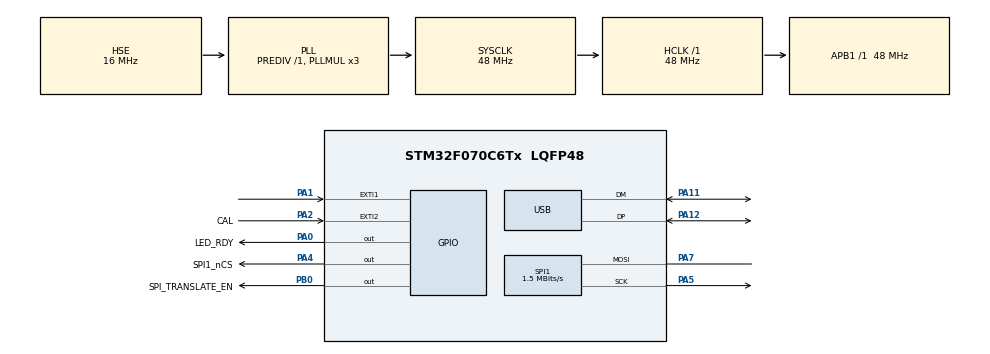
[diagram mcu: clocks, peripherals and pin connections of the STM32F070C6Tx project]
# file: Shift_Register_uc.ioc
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Mcu.Family=STM32F0
Mcu.Name=STM32F070C6Tx
Mcu.Package=LQFP48
NVIC.EXTI2_3_IRQn=true\:0\:0\:false\:false\:true\:true\:true\:true
NVIC.USB_IRQn=true\:0\:0\:false\:false\:true\:false\:true\:true
PA0.GPIO_Label=LED_RDY
PA0.Signal=GPIO_Output
PA1.GPIO_ModeDefaultEXTI=GPIO_MODE_IT_FALLING
PA1.GPIO_PuPd=GPIO_PULLUP
PA1.Signal=GPXTI1
PA11.Mode=Device
PA11.Signal=USB_DM
PA12.Mode=Device
PA12.Signal=USB_DP
PA13.Mode=Serial_Wire
PA13.Signal=SYS_SWDIO
PA14.Mode=Serial_Wire
PA14.Signal=SYS_SWCLK
PA2.GPIO_Label=CAL
PA2.GPIO_ModeDefaultEXTI=GPIO_MODE_IT_FALLING
PA2.GPIO_PuPd=GPIO_PULLUP
PA2.Signal=GPXTI2
PA4.GPIO_Label=SPI1_nCS
PA4.Signal=GPIO_Output
PA5.Mode=Simplex_Bidirectional_Master
PA5.Signal=SPI1_SCK
PA7.Mode=Simplex_Bidirectional_Master
PA7.Signal=SPI1_MOSI
PB0.GPIO_Label=SPI_TRANSLATE_EN
PB0.Signal=GPIO_Output
PF0-OSC_IN.Mode=HSE-External-Oscillator
PF0-OSC_IN.Signal=RCC_OSC_IN
PF1-OSC_OUT.Mode=HSE-External-Oscillator
PF1-OSC_OUT.Signal=RCC_OSC_OUT
ProjectManager.HeapSize=0x200
ProjectManager.StackSize=0x400
ProjectManager.TargetToolchain=STM32CubeIDE
RCC.AHBFreq_Value=48000000
RCC.APB1Freq_Value=48000000
RCC.APB1TimFreq_Value=48000000
RCC.HCLKFreq_Value=48000000
RCC.HSE_VALUE=16000000
RCC.PLLMUL=RCC_PLL_MUL3
RCC.SYSCLKFreq_VALUE=48000000
RCC.SYSCLKSource=RCC_SYSCLKSOURCE_PLLCLK
SPI1.BaudRatePrescaler=SPI_BAUDRATEPRESCALER_32
SPI1.CalculateBaudRate=1.5 MBits/s
SPI1.DataSize=SPI_DATASIZE_8BIT
SPI1.Direction=SPI_DIRECTION_1LINE
SPI1.FirstBit=SPI_FIRSTBIT_LSB
SPI1.Mode=SPI_MODE_MASTER
SPI1.VirtualType=VM_MASTER
USB_DEVICE.CLASS_NAME_FS=DFU
USB_DEVICE.USBD_DEBUG_LEVEL=2
USB_DEVICE.VirtualMode=Dfu
USB_DEVICE.VirtualModeFS=Dfu_FS
VP_USB_DEVICE_VS_USB_DEVICE_DFU_FS.Mode=DFU_FS
board=custom

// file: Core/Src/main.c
/* USER CODE BEGIN Header */
/**
  ******************************************************************************
  * @file           : main.c
  * @brief          : Main program body
  ******************************************************************************
  * @attention
  *
  * Copyright (c) 2023 STMicroelectronics.
  * All rights reserved.
  *
  * This software is licensed under terms that can be found in the LICENSE file
  * in the root directory of this software component.
  * If no LICENSE file comes with this software, it is provided AS-IS.
  *
  ******************************************************************************
  */
/* USER CODE END Header */
#include "main.h"
#include "usb_device.h"

/* USER CODE BEGIN Includes */
#include "clk_div_8V79S680.h"
/* USER CODE END Includes */

SPI_HandleTypeDef hspi1;

/* USER CODE BEGIN PV */
static int8_t CAL_SUCCESS = 1; // 0 denotes success, 1 denotes failure
/* USER CODE END PV */

void SystemClock_Config(void);
static void MX_GPIO_Init(void);
static void MX_SPI1_Init(void);

int main(void)
{

  /* MCU Configuration--------------------------------------------------------*/

  /* Reset of all peripherals, Initializes the Flash interface and the Systick. */
  HAL_Init();

  /* Configure the system clock */
  SystemClock_Config();

  /* Initialize all configured peripherals */
  MX_GPIO_Init();
  MX_SPI1_Init();
  MX_USB_DEVICE_Init();
  /* USER CODE BEGIN 2 */
  	HAL_GPIO_WritePin(SPI_TRANSLATE_EN_GPIO_Port, SPI_TRANSLATE_EN_Pin, GPIO_PIN_SET);
  	HAL_GPIO_WritePin(SPI1_nCS_GPIO_Port, SPI1_nCS_Pin, GPIO_PIN_SET);

	uint8_t reg_data;
	uint8_t reg2_data[120];
	HAL_StatusTypeDef SPI_status;

	HAL_Delay(1000);
	CLK_DIV_Init(&hspi1);

  /* USER CODE END 2 */

  /* Infinite loop */
  /* USER CODE BEGIN WHILE */
  while (1)
  {
	  while(CAL_SUCCESS != 0) {
		HAL_GPIO_WritePin(CAL_GPIO_Port, CAL_Pin, GPIO_PIN_RESET);
		/*
		CAL_SUCCESS = CLK_DIV_Calibrate(&hspi1, 0x01, 1, 492);

		*/

		HAL_GPIO_TogglePin(LED_RDY_GPIO_Port, LED_RDY_Pin);
		HAL_Delay(1000);
		if(CAL_SUCCESS == 0) {
			/*
			// read all registers of clock divider IC
			SPI_status = ReadRegister(&hspi1, 0x00, reg2_data, 119);
			*/
		}
	}
    /* USER CODE END WHILE */

  }
}

void SystemClock_Config(void)
{
  RCC_OscInitTypeDef RCC_OscInitStruct = {0};
  RCC_ClkInitTypeDef RCC_ClkInitStruct = {0};
  RCC_PeriphCLKInitTypeDef PeriphClkInit = {0};

  /** Initializes the RCC Oscillators according to the specified parameters
  * in the RCC_OscInitTypeDef structure.
  */
  RCC_OscInitStruct.OscillatorType = RCC_OSCILLATORTYPE_HSE;
  RCC_OscInitStruct.HSEState = RCC_HSE_ON;
  RCC_OscInitStruct.PLL.PLLState = RCC_PLL_ON;
  RCC_OscInitStruct.PLL.PLLSource = RCC_PLLSOURCE_HSE;
  RCC_OscInitStruct.PLL.PLLMUL = RCC_PLL_MUL3;
  RCC_OscInitStruct.PLL.PREDIV = RCC_PREDIV_DIV1;
  if (HAL_RCC_OscConfig(&RCC_OscInitStruct) != HAL_OK)
  {
    Error_Handler();
  }

  /** Initializes the CPU, AHB and APB buses clocks
  */
  RCC_ClkInitStruct.ClockType = RCC_CLOCKTYPE_HCLK|RCC_CLOCKTYPE_SYSCLK
                              |RCC_CLOCKTYPE_PCLK1;
  RCC_ClkInitStruct.SYSCLKSource = RCC_SYSCLKSOURCE_PLLCLK;
  RCC_ClkInitStruct.AHBCLKDivider = RCC_SYSCLK_DIV1;
  RCC_ClkInitStruct.APB1CLKDivider = RCC_HCLK_DIV1;

  if (HAL_RCC_ClockConfig(&RCC_ClkInitStruct, FLASH_LATENCY_1) != HAL_OK)
  {
    Error_Handler();
  }
  PeriphClkInit.PeriphClockSelection = RCC_PERIPHCLK_USB;
  PeriphClkInit.UsbClockSelection = RCC_USBCLKSOURCE_PLL;

  if (HAL_RCCEx_PeriphCLKConfig(&PeriphClkInit) != HAL_OK)
  {
    Error_Handler();
  }
}

static void MX_SPI1_Init(void)
{

  /* SPI1 parameter configuration*/
  hspi1.Instance = SPI1;
  hspi1.Init.Mode = SPI_MODE_MASTER;
  hspi1.Init.Direction = SPI_DIRECTION_1LINE;
  hspi1.Init.DataSize = SPI_DATASIZE_8BIT;
  hspi1.Init.CLKPolarity = SPI_POLARITY_LOW;
  hspi1.Init.CLKPhase = SPI_PHASE_1EDGE;
  hspi1.Init.NSS = SPI_NSS_SOFT;
  hspi1.Init.BaudRatePrescaler = SPI_BAUDRATEPRESCALER_32;
  hspi1.Init.FirstBit = SPI_FIRSTBIT_LSB;
  hspi1.Init.TIMode = SPI_TIMODE_DISABLE;
  hspi1.Init.CRCCalculation = SPI_CRCCALCULATION_DISABLE;
  hspi1.Init.CRCPolynomial = 7;
  hspi1.Init.CRCLength = SPI_CRC_LENGTH_DATASIZE;
  hspi1.Init.NSSPMode = SPI_NSS_PULSE_ENABLE;
  if (HAL_SPI_Init(&hspi1) != HAL_OK)
  {
    Error_Handler();
  }

}

static void MX_GPIO_Init(void)
{
  GPIO_InitTypeDef GPIO_InitStruct = {0};

  /* GPIO Ports Clock Enable */
  __HAL_RCC_GPIOF_CLK_ENABLE();
  __HAL_RCC_GPIOA_CLK_ENABLE();
  __HAL_RCC_GPIOB_CLK_ENABLE();

  /*Configure GPIO pin Output Level */
  HAL_GPIO_WritePin(GPIOA, LED_RDY_Pin|SPI1_nCS_Pin, GPIO_PIN_RESET);

  /*Configure GPIO pin Output Level */
  HAL_GPIO_WritePin(SPI_TRANSLATE_EN_GPIO_Port, SPI_TRANSLATE_EN_Pin, GPIO_PIN_RESET);

  /*Configure GPIO pins : LED_RDY_Pin SPI1_nCS_Pin */
  GPIO_InitStruct.Pin = LED_RDY_Pin|SPI1_nCS_Pin;
  GPIO_InitStruct.Mode = GPIO_MODE_OUTPUT_PP;
  GPIO_InitStruct.Pull = GPIO_NOPULL;
  GPIO_InitStruct.Speed = GPIO_SPEED_FREQ_LOW;
  HAL_GPIO_Init(GPIOA, &GPIO_InitStruct);

  /*Configure GPIO pins : PA1 CAL_Pin */
  GPIO_InitStruct.Pin = GPIO_PIN_1|CAL_Pin;
  GPIO_InitStruct.Mode = GPIO_MODE_IT_FALLING;
  GPIO_InitStruct.Pull = GPIO_PULLUP;
  HAL_GPIO_Init(GPIOA, &GPIO_InitStruct);

  /*Configure GPIO pin : SPI_TRANSLATE_EN_Pin */
  GPIO_InitStruct.Pin = SPI_TRANSLATE_EN_Pin;
  GPIO_InitStruct.Mode = GPIO_MODE_OUTPUT_PP;
  GPIO_InitStruct.Pull = GPIO_NOPULL;
  GPIO_InitStruct.Speed = GPIO_SPEED_FREQ_LOW;
  HAL_GPIO_Init(SPI_TRANSLATE_EN_GPIO_Port, &GPIO_InitStruct);

  /* EXTI interrupt init*/
  HAL_NVIC_SetPriority(EXTI2_3_IRQn, 0, 0);
  HAL_NVIC_EnableIRQ(EXTI2_3_IRQn);

}

/* USER CODE BEGIN 4 */

void HAL_GPIO_EXTI_Callback(uint16_t GPIO_Pin)
{
  if(GPIO_Pin == CAL_Pin) {
    //HAL_GPIO_TogglePin(LED_RDY_GPIO_Port, LED_RDY_Pin);
	HAL_GPIO_WritePin(LED_RDY_GPIO_Port, LED_RDY_Pin, GPIO_PIN_RESET);
	CAL_SUCCESS = CLK_DIV_Calibrate(&hspi1, 0x00, 1, 492); //original 0x00, 1, 492
	if(CAL_SUCCESS == 0) {
		HAL_GPIO_WritePin(LED_RDY_GPIO_Port, LED_RDY_Pin, GPIO_PIN_SET);
		CLK_DIV_Output_Enable(&hspi1);
	}
  } else {
      __NOP();
  }
}

/* USER CODE END 4 */

void Error_Handler(void)
{
  __disable_irq();
  while (1)
  {
  }
}
